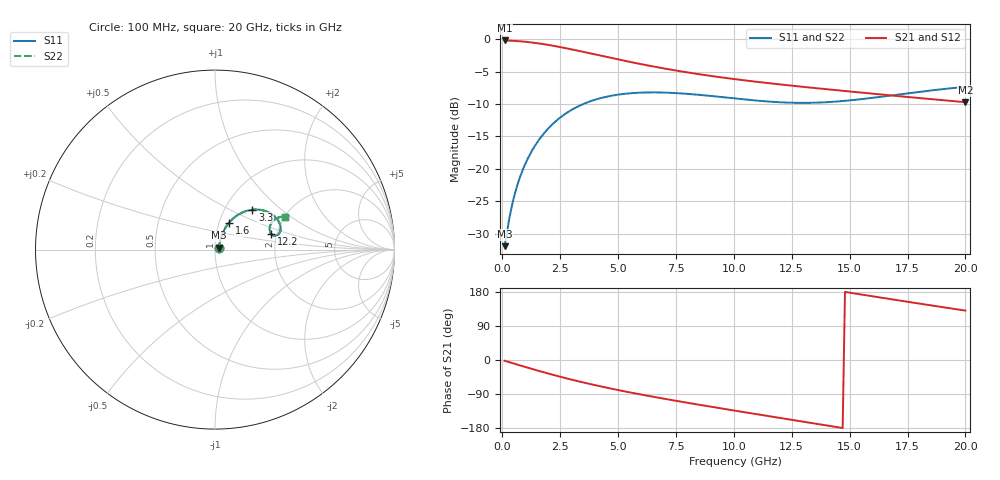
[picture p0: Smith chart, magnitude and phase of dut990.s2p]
! Touchstone file exported from HFSS 2024.1.0
!  File:  C:/UserFiles/LocalFiles/RDL_TSV_Batchsim/temp_RDL_TSV_990_1779975288.aedt
!  Generated:  09:48:04 PM May 28, 2026
!  Design:  RDL_TSV
!  Project:  temp_RDL_TSV_990_1779975288
!  Setup:  Setup1
!  Solution:  Sweep
! Variables:
!  dtsv = 7.85um
!  hbump = 3um
!  htsv = 54.17um
!  ldown = 512.06um
!  lrdl = 529.37um
!  p = 40
!  p1 = 47.71um
!  rhole = 10um
!  subl = 3653.66um
!  t = 450um
!  tdown = 4.96um
!  trdl = 4.09um
!  viad = 10um
!  wdown = 16.3um
!  wrdl = 11.77um
!  xbump = 18um
# GHz S MA R 50.000000
! Terminal data exported
! Port[1] = TM1_1_T1
! Port[2] = TM1_4_T1
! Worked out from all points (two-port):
!   200 points, 100 MHz to 20 GHz, reference 50 ohm
!   highest |S21| = -0.20 dB at 100 MHz (marker M1); lowest = -9.7 dB at 20 GHz (marker M2)
!   |S21| within 3 dB of the highest: start of sweep to 5.1 GHz
!   lowest |S11| = -31.9 dB at 100 MHz (marker M3), VSWR 1.05, Z = 52.3 + j1.15 ohm
!   |S11| at or under -10 dB: start of sweep to 3.5 GHz
!   |S22| runs from -31.9 to -7.3 dB; largest |S21 - S12| = 4.6e-14
!   S11 on the Smith chart (normalised r, x): 100 MHz: 1.05, +0.02; 1.6 GHz: 1.11, +0.34; 3.3 GHz: 1.34, +0.66; 12.2 GHz: 1.86, +0.37; 20 GHz: 2.00, +0.90
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0.1  0.02532 25.8  0.9772 -1.9  0.9772 -1.9  0.02532 25.8
! Gamma 0 0 0 0
! Port Impedance 50 0 50 0
0.3  0.04105 51.5  0.9745 -5.7  0.9745 -5.7  0.04105 51.5
0.4  0.05041 56.9  0.9726 -7.6  0.9726 -7.6  0.05041 56.9
0.7  0.07982 63.7  0.965 -13.1  0.965 -13.1  0.07982 63.7
1.1  0.1199 65.0  0.9505 -20.3  0.9505 -20.3  0.1199 65.0
1.6  0.1689 62.5  0.926 -29.2  0.926 -29.2  0.1689 62.5
2  0.206 59.3  0.9022 -36.0  0.9022 -36.0  0.206 59.3
2.4  0.2404 55.6  0.8759 -42.6  0.8759 -42.6  0.2404 55.6
3.3  0.3046 46.8  0.8124 -56.4  0.8124 -56.4  0.3046 46.8
3.5  0.3162 44.9  0.7982 -59.3  0.7982 -59.3  0.3162 44.9
4.2  0.3491 38.5  0.7495 -69.0  0.7495 -69.0  0.3492 38.5
5.1  0.3754 31.2  0.6918 -80.5  0.6918 -80.5  0.3754 31.2
5.9  0.3863 25.7  0.6466 -90.1  0.6466 -90.1  0.3864 25.7
6.8  0.388 20.7  0.6025 -100.2  0.6025 -100.2  0.3881 20.7
8.4  0.3735 14.8  0.54 -117.1  0.54 -117.1  0.3736 14.9
10.1  0.3481 12.8  0.4901 -134.2  0.4901 -134.2  0.3481 12.9
12.2  0.3248 15.9  0.4436 -155.0  0.4436 -155.0  0.3247 15.9
13.4  0.3232 19.3  0.4215 -166.7  0.4215 -166.7  0.3232 19.4
15  0.3371 23.7  0.395 177.7  0.395 177.7  0.3371 23.9
16.7  0.3661 26.4  0.3694 161.3  0.3694 161.3  0.3663 26.6
18.4  0.4 26.7  0.3462 145.2  0.3462 145.2  0.4004 26.8
20  0.4287 25.2  0.3266 130.4  0.3266 130.4  0.4294 25.4
